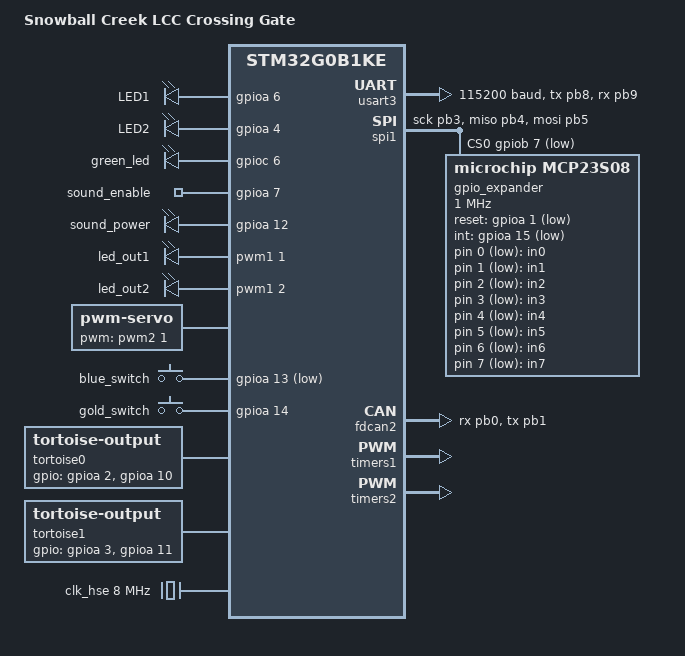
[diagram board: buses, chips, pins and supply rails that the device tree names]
/*
 * Copyright (c) 2024 Robert Middleton
 *
 * SPDX-License-Identifier: Apache-2.0
 */

/dts-v1/;
#include <st/g0/stm32g0b1Xe.dtsi>
#include <st/g0/stm32g0b1k(b-c-e)tx-pinctrl.dtsi>
#include <zephyr/dt-bindings/input/input-event-codes.h>
#include <zephyr/dt-bindings/pinctrl/stm32-pinctrl.h>
#include <zephyr/dt-bindings/pinctrl/stm32-pinctrl-common.h>

/* CPU: STM32G0B1KE
 * FLASH: 512k
 * SRAM: 128(parity-protected)/144(not parity-protected)
 */

/ {
	model = "Snowball Creek LCC Crossing Gate";
	compatible = "st,stm32g0b1ke-lcc-crossing-gate";

	chosen {
		zephyr,console = &usart3;
		zephyr,shell-uart = &usart3;
		zephyr,uart-mcumgr = &usart3;
		zephyr,sram = &sram0;
		zephyr,flash = &flash0;
		zephyr,code-partition = &slot0_partition;
		zephyr,canbus = &fdcan2;
	};

	aliases {
	};

	leds: leds {
		compatible = "gpio-leds";
		gold_led: led_1 {
			gpios = <&gpioa 6 GPIO_ACTIVE_HIGH>;
			label = "LED1";
		};
		blue_led: led_2 {
			gpios = <&gpioa 4 GPIO_ACTIVE_HIGH>;
			label = "LED2";
		};
		green_led: led_3 {
			gpios = <&gpioc 6 GPIO_ACTIVE_HIGH>;
		};

		sound_enable: sound_en {
			gpios = <&gpioa 7 GPIO_ACTIVE_HIGH>;
			label = "sound_enable";
		};
		sound_power: sound_pwr {
			gpios = <&gpioa 12 GPIO_ACTIVE_HIGH>;
			label = "sound_power";
		};

	};

	pwmleds {
		compatible = "pwm-leds";
		status = "okay";

		led_out1: led_4 {
			pwms = <&pwm1 1 PWM_MSEC(20) PWM_POLARITY_NORMAL>;
		};
		led_out2: led_5 {
			pwms = <&pwm1 2 PWM_MSEC(20) PWM_POLARITY_NORMAL>;
		};
	};

	servo: servo {
		compatible = "pwm-servo";
		pwms = <&pwm2 1 PWM_MSEC(20) PWM_POLARITY_NORMAL>;
		min-pulse = <PWM_USEC(700)>;
		max-pulse = <PWM_USEC(2500)>;
	};

	gpio_keys {
		compatible = "gpio-keys";
		blue_switch: button_blue {
			label = "blue_switch";
			gpios = <&gpioa 13 (GPIO_ACTIVE_LOW)>;
		};
		gold_switch: button_gold {
			label = "gold_switch";
			gpios = <&gpioa 14 (GPIO_ACTIVE_HIGH)>;
		};

	};

	inputs {
		compatible = "gpio-keys";
		debounce-interval-ms = <0>;

		in0: input0 {
			label = "in0";
			gpios = <&gpio_expander 0 GPIO_ACTIVE_LOW>;
		};
		in1: input1 {
			label = "in1";
			gpios = <&gpio_expander 1 GPIO_ACTIVE_LOW>;
		};
		in2: input2 {
			label = "in2";
			gpios = <&gpio_expander 2 GPIO_ACTIVE_LOW>;
		};
		in3: input3 {
			label = "in3";
			gpios = <&gpio_expander 3 GPIO_ACTIVE_LOW>;
		};
		in4: input4 {
			label = "in4";
			gpios = <&gpio_expander 4 GPIO_ACTIVE_LOW>;
		};
		in5: input5 {
			label = "in5";
			gpios = <&gpio_expander 5 GPIO_ACTIVE_LOW>;
		};
		in6: input6 {
			label = "in6";
			gpios = <&gpio_expander 6 GPIO_ACTIVE_LOW>;
		};
		in7: input7 {
			label = "in7";
			gpios = <&gpio_expander 7 GPIO_ACTIVE_LOW>;
		};
	};
};

/*
&clk_lsi {
	status = "okay";
};

&clk_hsi {
	status = "okay";
};

&clk_hsi48 {
	status = "okay";
	crs-usb-sof;
};
*/

&clk_hse {
	status = "okay";
	hse-bypass;
	clock-frequency = <DT_FREQ_M(8)>;
};

&pll {
	div-m = <1>;
	mul-n = <12>;
	div-p = <2>;
	div-q = <2>;
	div-r = <3>;
	clocks = <&clk_hse>;
	status = "okay";
};


&rcc {
	clocks = <&pll>;
	clock-frequency = <DT_FREQ_M(32)>;
	ahb-prescaler = <1>;
	apb1-prescaler = <1>;
};

&usart3 {
	pinctrl-0 = <&usart3_tx_pb8 &usart3_rx_pb9>;
	pinctrl-names = "default";
	current-speed = <115200>;
	status = "okay";
};


/*
&rtc {
	clocks = <&rcc STM32_CLOCK_BUS_APB1 0x00000400>,
		 <&rcc STM32_SRC_LSI RTC_SEL(2)>;
	status = "okay";
};

&iwdg {
	status = "okay";
};
*/

&spi1 {
	pinctrl-0 = <&spi1_sck_pb3
		     &spi1_miso_pb4 &spi1_mosi_pb5>;
	pinctrl-names = "default";
	status = "okay";

	cs-gpios = <&gpiob 7 GPIO_ACTIVE_LOW>;

	gpio_expander: mcp23s08@0 {
		compatible = "microchip,mcp23s08";
		spi-max-frequency = <1000000>;
		reg = <0x0>;
		gpio-controller;
		#gpio-cells = <2>;
		ngpios = <8>;
		reset-gpios = <&gpioa 1 GPIO_ACTIVE_LOW>;
		int-gpios = <&gpioa 15 GPIO_ACTIVE_LOW>;
	};
};

&fdcan2 {
	clocks = <&rcc STM32_CLOCK_BUS_APB1 0x00001000>,
		 <&rcc STM32_SRC_PLL_Q FDCAN_SEL(1)>;
	pinctrl-0 = <&fdcan2_rx_pb0 &fdcan2_tx_pb1>;
	pinctrl-names = "default";
	status = "okay";
};

&flash0 {
	partitions {
		compatible = "fixed-partitions";
		#address-cells = <1>;
		#size-cells = <1>;

		/* We have 512k of flash, so let's not worry too much about space */
		boot_partition: partition@0 {
			label = "bootloader";
			reg = <0x00000000 DT_SIZE_K(48)>;
			read-only;
		};
		slot0_partition: partition@C000 {
			label = "image-0";
			reg = <0x0000C000 DT_SIZE_K(192)>;
		};
		slot1_partition: partition@3C000 {
			label = "image-1";
			reg = <0x0003C000 DT_SIZE_K(192)>;
		};

		/*
		 * 2k for LCC ID data
		 */
		lcc_partition: partition@7F000 {
			label = "lcc-partition";
			reg = <0x0007F000 DT_SIZE_K(2)>;
		};
	};
};

/ {
	tortoise0: tort0 {
		compatible = "tortoise-output";
		gpios = <&gpioa 2 GPIO_ACTIVE_HIGH>,
		        <&gpioa 10 GPIO_ACTIVE_HIGH>;
		status = "okay";
        };
	tortoise1: tort1 {
		compatible = "tortoise-output";
		gpios = <&gpioa 3 GPIO_ACTIVE_HIGH>,
		        <&gpioa 11 GPIO_ACTIVE_HIGH>;
		status = "okay";
        };
};

&timers1 {
	st,prescaler = <10000>;
	status = "okay";

	pwm1: pwm {
		status = "okay";
		pinctrl-0 = <&tim1_ch1_pa8 &tim1_ch2_pa9>;
		pinctrl-names = "default";
	};
};

&timers2 {
	st,prescaler = <10000>;
	status = "okay";

	pwm2: pwm {
		status = "okay";
		pinctrl-0 = <&tim2_ch1_pa5>;
		pinctrl-names = "default";
	};
};

